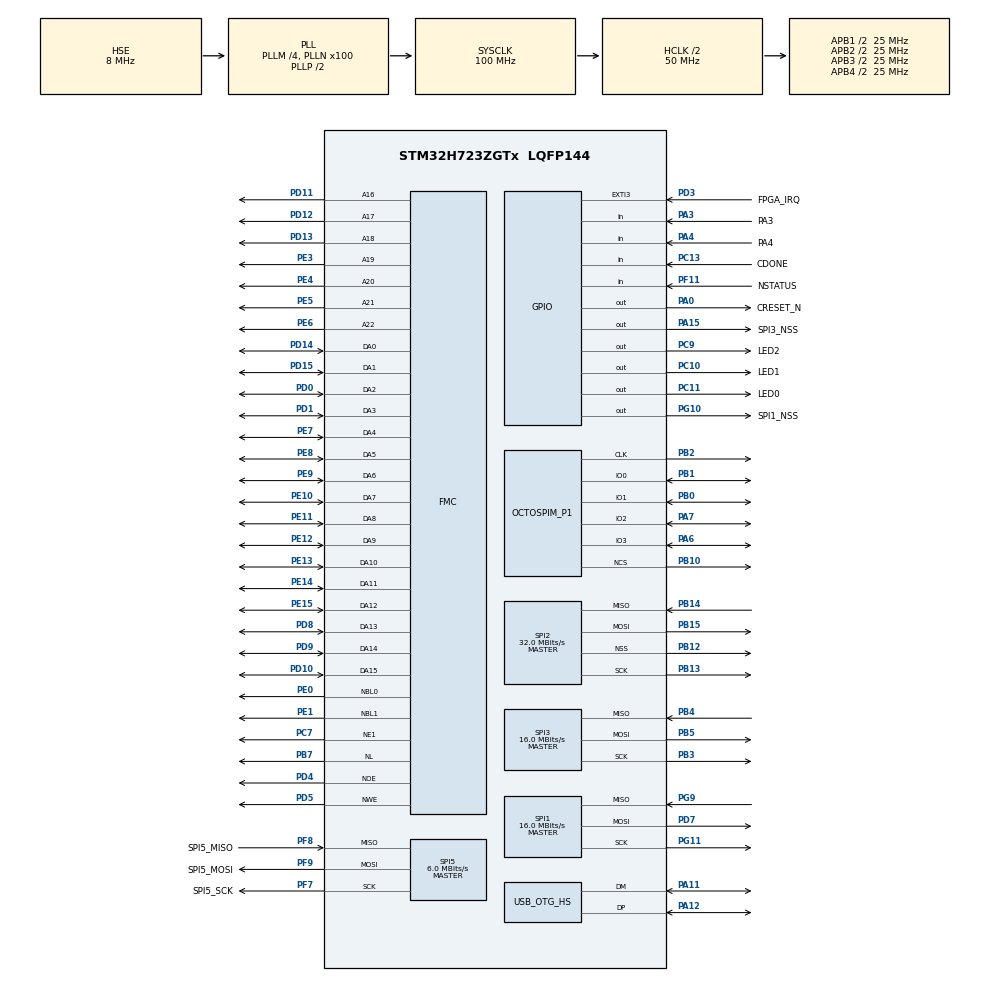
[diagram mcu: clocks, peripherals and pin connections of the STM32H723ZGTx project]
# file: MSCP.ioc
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ADC3.Channel-0\#ChannelRegularConversion=ADC_CHANNEL_TEMPSENSOR
ADC3.ClockPrescalerADC3=ADC_CLOCK_ASYNC_DIV4
ADC3.NbrOfConversionFlag=1
ADC3.OffsetNumber-0\#ChannelRegularConversion=ADC_OFFSET_NONE
ADC3.OffsetSign-0\#ChannelRegularConversion=ADC3_OFFSET_SIGN_NEGATIVE
ADC3.Rank-0\#ChannelRegularConversion=1
ADC3.SamplingTime-0\#ChannelRegularConversion=ADC3_SAMPLETIME_247CYCLES_5
CORTEX_M7.AccessPermission_S-Cortex_Memory_Protection_Unit_Region1_Settings_S=MPU_REGION_FULL_ACCESS
CORTEX_M7.AccessPermission_S-Cortex_Memory_Protection_Unit_Region2_Settings_S=MPU_REGION_FULL_ACCESS
CORTEX_M7.BaseAddress_S-Cortex_Memory_Protection_Unit_Region1_Settings_S=0x60000000
CORTEX_M7.BaseAddress_S-Cortex_Memory_Protection_Unit_Region2_Settings_S=0x60800000
CORTEX_M7.CPU_DCache=Enabled
CORTEX_M7.CPU_ICache=Enabled
CORTEX_M7.DisableExec_S-Cortex_Memory_Protection_Unit_Region1_Settings_S=MPU_INSTRUCTION_ACCESS_DISABLE
CORTEX_M7.DisableExec_S-Cortex_Memory_Protection_Unit_Region2_Settings_S=MPU_INSTRUCTION_ACCESS_DISABLE
CORTEX_M7.Enable_S-Cortex_Memory_Protection_Unit_Region1_Settings_S=MPU_REGION_ENABLE
CORTEX_M7.Enable_S-Cortex_Memory_Protection_Unit_Region2_Settings_S=MPU_REGION_ENABLE
CORTEX_M7.IsBufferable_S-Cortex_Memory_Protection_Unit_Region1_Settings_S=MPU_ACCESS_BUFFERABLE
CORTEX_M7.IsBufferable_S-Cortex_Memory_Protection_Unit_Region2_Settings_S=MPU_ACCESS_BUFFERABLE
CORTEX_M7.IsCacheable_S-Cortex_Memory_Protection_Unit_Region1_Settings_S=MPU_ACCESS_NOT_CACHEABLE
CORTEX_M7.IsCacheable_S-Cortex_Memory_Protection_Unit_Region2_Settings_S=MPU_ACCESS_CACHEABLE
CORTEX_M7.Size_S-Cortex_Memory_Protection_Unit_Region1_Settings_S=MPU_REGION_SIZE_8MB
CORTEX_M7.Size_S-Cortex_Memory_Protection_Unit_Region2_Settings_S=MPU_REGION_SIZE_8MB
CORTEX_M7.default_mode_Activation=1
FMC.AddressHoldTime1=1
FMC.AddressSetupTime1=2
FMC.BusTurnAroundDuration1=1
FMC.DataSetupTime1=3
FMC.WriteFifo1=FMC_WRITE_FIFO_ENABLE
FMC.WriteOperation1=FMC_WRITE_OPERATION_ENABLE
Mcu.Family=STM32H7
Mcu.Name=STM32H723ZGTx
Mcu.Package=LQFP144
NVIC.EXTI3_IRQn=true\:0\:0\:false\:false\:true\:true\:true\:true
NVIC.OTG_HS_IRQn=true\:0\:0\:false\:false\:true\:false\:true\:true
NVIC.PriorityGroup=NVIC_PRIORITYGROUP_4
OCTOSPI1.ChipSelectHighTime=2
OCTOSPI1.ClockPrescaler=2
OCTOSPI1.DelayBlockBypass=HAL_OSPI_DELAY_BLOCK_BYPASSED
OCTOSPI1.DelayHoldQuarterCycle=HAL_OSPI_DHQC_ENABLE
OCTOSPI1.DeviceSize=23
OCTOSPI1.DeviceType=SPI_DEVICE_FLASH
OCTOSPI1.FifoThreshold=4
PA0.GPIO_Label=CRESET_N
PA0.GPIO_ModeDefaultOutputPP=GPIO_MODE_OUTPUT_OD
PA0.GPIO_PuPd=GPIO_NOPULL
PA0.PinState=GPIO_PIN_SET
PA0.Signal=GPIO_Output
PA11.Mode=Device_Only_FS
PA11.Signal=USB_OTG_HS_DM
PA12.Mode=Device_Only_FS
PA12.Signal=USB_OTG_HS_DP
PA13(JTMS/SWDIO).Mode=Trace_Synchro_4bits_SW
PA13(JTMS/SWDIO).Signal=DEBUG_JTMS-SWDIO
PA14(JTCK/SWCLK).Mode=Trace_Synchro_4bits_SW
PA14(JTCK/SWCLK).Signal=DEBUG_JTCK-SWCLK
PA15(JTDI).GPIO_Label=SPI3_NSS
PA15(JTDI).Signal=GPIO_Output
PA3.GPIO_Label=PA3
PA3.Signal=GPIO_Input
PA4.GPIO_Label=PA4
PA4.Signal=GPIO_Input
PA6.Mode=OCTOSPI1_IOL_Port1L
PA6.Signal=OCTOSPIM_P1_IO3
PA7.Mode=OCTOSPI1_IOL_Port1L
PA7.Signal=OCTOSPIM_P1_IO2
PB0.Mode=OCTOSPI1_IOL_Port1L
PB0.Signal=OCTOSPIM_P1_IO1
PB1.Mode=OCTOSPI1_IOL_Port1L
PB1.Signal=OCTOSPIM_P1_IO0
PB10.Mode=OCTOSPI1_Port1_NCS
PB10.Signal=OCTOSPIM_P1_NCS
PB12.Mode=NSS_Signal_Hard_Output
PB12.Signal=SPI2_NSS
PB13.Mode=Full_Duplex_Master
PB13.Signal=SPI2_SCK
PB14.Mode=Full_Duplex_Master
PB14.Signal=SPI2_MISO
PB15.Mode=Full_Duplex_Master
PB15.Signal=SPI2_MOSI
PB2.Mode=O1_P1_CLK
PB2.Signal=OCTOSPIM_P1_CLK
PB3(JTDO/TRACESWO).Mode=Full_Duplex_Master
PB3(JTDO/TRACESWO).Signal=SPI3_SCK
PB4(NJTRST).Mode=Full_Duplex_Master
PB4(NJTRST).Signal=SPI3_MISO
PB5.Mode=Full_Duplex_Master
PB5.Signal=SPI3_MOSI
PB7.Signal=FMC_NL
PC10.GPIO_Label=LED1
PC10.Signal=GPIO_Output
PC11.GPIO_Label=LED0
PC11.Signal=GPIO_Output
PC12.Mode=Trace_Synchro_4bits_SW
PC12.Signal=DEBUG_TRACED3
PC13.GPIO_Label=CDONE
PC13.Signal=GPIO_Input
PC7.Mode=NorPsramChipSelect1_1
PC7.Signal=FMC_NE1
PC9.GPIO_Label=LED2
PC9.Signal=GPIO_Output
PD0.Signal=FMC_D2_DA2
PD1.Signal=FMC_D3_DA3
PD10.Signal=FMC_D15_DA15
PD11.Signal=FMC_A16_CLE
PD12.Signal=FMC_A17_ALE
PD13.Signal=FMC_A18
PD14.Signal=FMC_D0_DA0
PD15.Signal=FMC_D1_DA1
PD2.Mode=Trace_Synchro_4bits_SW
PD2.Signal=DEBUG_TRACED2
PD3.GPIO_Label=FPGA_IRQ
PD3.GPIO_PuPd=GPIO_PULLDOWN
PD3.Signal=GPXTI3
PD4.Signal=FMC_NOE
PD5.Signal=FMC_NWE
PD7.Mode=Full_Duplex_Master
PD7.Signal=SPI1_MOSI
PD8.Signal=FMC_D13_DA13
PD9.Signal=FMC_D14_DA14
PE0.Signal=FMC_NBL0
PE1.Signal=FMC_NBL1
PE10.Signal=FMC_D7_DA7
PE11.Signal=FMC_D8_DA8
PE12.Signal=FMC_D9_DA9
PE13.Signal=FMC_D10_DA10
PE14.Signal=FMC_D11_DA11
PE15.Signal=FMC_D12_DA12
PE2.Mode=Trace_Synchro_4bits_SW
PE2.Signal=DEBUG_TRACECLK
PE3.Signal=FMC_A19
PE4.Signal=FMC_A20
PE5.Signal=FMC_A21
PE6.Signal=FMC_A22
PE7.Signal=FMC_D4_DA4
PE8.Signal=FMC_D5_DA5
PE9.Signal=FMC_D6_DA6
PF11.GPIO_Label=NSTATUS
PF11.Signal=GPIO_Input
PF7.GPIO_Label=SPI5_SCK
PF7.Mode=Full_Duplex_Master
PF7.Signal=SPI5_SCK
PF8.GPIO_Label=SPI5_MISO
PF8.Mode=Full_Duplex_Master
PF8.Signal=SPI5_MISO
PF9.GPIO_Label=SPI5_MOSI
PF9.Mode=Full_Duplex_Master
PF9.Signal=SPI5_MOSI
PG10.GPIO_Label=SPI1_NSS
PG10.Signal=GPIO_Output
PG11.Mode=Full_Duplex_Master
PG11.Signal=SPI1_SCK
PG13.Mode=Trace_Synchro_4bits_SW
PG13.Signal=DEBUG_TRACED0
PG14.Mode=Trace_Synchro_4bits_SW
PG14.Signal=DEBUG_TRACED1
PG9.Mode=Full_Duplex_Master
PG9.Signal=SPI1_MISO
PH0-OSC_IN.Mode=HSE-External-Clock-Source
PH0-OSC_IN.Signal=RCC_OSC_IN
ProjectManager.HeapSize=0x8000
ProjectManager.StackSize=0x400
ProjectManager.TargetToolchain=STM32CubeIDE
RCC.ADCCLockSelection=RCC_ADCCLKSOURCE_PLL3
RCC.ADCFreq_Value=38400000
RCC.APB1Freq_Value=25000000
RCC.APB2Freq_Value=25000000
RCC.APB3Freq_Value=25000000
RCC.APB4Freq_Value=25000000
RCC.CortexFreq_Value=100000000
RCC.D1PPRE=RCC_APB3_DIV2
RCC.D2PPRE1=RCC_APB1_DIV2
RCC.D2PPRE2=RCC_APB2_DIV2
RCC.D3PPRE=RCC_APB4_DIV2
RCC.DIVM1=4
RCC.DIVM2=5
RCC.DIVM3=1
RCC.DIVN1=100
RCC.DIVN2=144
RCC.DIVN3=24
RCC.DIVP2=3
RCC.DIVP3=3
RCC.DIVQ3=4
RCC.DIVR1=4
RCC.DIVR2=1
RCC.DIVR3=5
RCC.FMCCLockSelection=RCC_FMCCLKSOURCE_PLL
RCC.HCLKFreq_Value=50000000
RCC.HPRE=RCC_HCLK_DIV2
RCC.HSE_VALUE=8000000
RCC.PLL2FRACN=0
RCC.PLL3FRACN=0
RCC.PLLFRACN=0
RCC.PLLSourceVirtual=RCC_PLLSOURCE_HSE
RCC.RCC_MCO1Source=RCC_MCO1SOURCE_HSE
RCC.SPI123CLockSelection=RCC_SPI123CLKSOURCE_PLL3
RCC.SYSCLKFreq_VALUE=100000000
RCC.SYSCLKSource=RCC_SYSCLKSOURCE_PLLCLK
RCC.Spi45ClockSelection=RCC_SPI45CLKSOURCE_PLL3
RCC.USART16CLockSelection=RCC_USART16910CLKSOURCE_PLL2
RCC.USBCLockSelection=RCC_USBCLKSOURCE_PLL3
RCC.USBFreq_Value=48000000
SH.FMC_A16_CLE.0=FMC_A16,23b-da1
SH.FMC_A17_ALE.0=FMC_A17,23b-da1
SH.FMC_A18.0=FMC_A18,23b-da1
SH.FMC_A19.0=FMC_A19,23b-da1
SH.FMC_A20.0=FMC_A20,23b-da1
SH.FMC_A21.0=FMC_A21,23b-da1
SH.FMC_A22.0=FMC_A22,23b-da1
SH.FMC_D0_DA0.0=FMC_DA0,23b-da1
SH.FMC_D10_DA10.0=FMC_DA10,23b-da1
SH.FMC_D11_DA11.0=FMC_DA11,23b-da1
SH.FMC_D12_DA12.0=FMC_DA12,23b-da1
SH.FMC_D13_DA13.0=FMC_DA13,23b-da1
SH.FMC_D14_DA14.0=FMC_DA14,23b-da1
SH.FMC_D15_DA15.0=FMC_DA15,23b-da1
SH.FMC_D1_DA1.0=FMC_DA1,23b-da1
SH.FMC_D2_DA2.0=FMC_DA2,23b-da1
SH.FMC_D3_DA3.0=FMC_DA3,23b-da1
SH.FMC_D4_DA4.0=FMC_DA4,23b-da1
SH.FMC_D5_DA5.0=FMC_DA5,23b-da1
SH.FMC_D6_DA6.0=FMC_DA6,23b-da1
SH.FMC_D7_DA7.0=FMC_DA7,23b-da1
SH.FMC_D8_DA8.0=FMC_DA8,23b-da1
SH.FMC_D9_DA9.0=FMC_DA9,23b-da1
SH.FMC_NBL0.0=FMC_NBL0,2ByteEnable1
SH.FMC_NBL1.0=FMC_NBL1,2ByteEnable1
SH.FMC_NL.0=FMC_NL,AddressValid1
SH.FMC_NOE.0=FMC_NOE,MuxedPsram1
SH.FMC_NWE.0=FMC_NWE,MuxedPsram1
SPI1.BaudRatePrescaler=SPI_BAUDRATEPRESCALER_4
SPI1.CalculateBaudRate=16.0 MBits/s
SPI1.DataSize=SPI_DATASIZE_8BIT
SPI1.Direction=SPI_DIRECTION_2LINES
SPI1.MasterKeepIOState=SPI_MASTER_KEEP_IO_STATE_ENABLE
SPI1.Mode=SPI_MODE_MASTER
SPI1.NSSPMode=SPI_NSS_PULSE_DISABLE
SPI1.VirtualType=VM_MASTER
SPI2.CalculateBaudRate=32.0 MBits/s
SPI2.DataSize=SPI_DATASIZE_8BIT
SPI2.Direction=SPI_DIRECTION_2LINES
SPI2.MasterKeepIOState=SPI_MASTER_KEEP_IO_STATE_ENABLE
SPI2.Mode=SPI_MODE_MASTER
SPI2.NSSPMode=SPI_NSS_PULSE_DISABLE
SPI2.VirtualNSS=VM_NSSHARD
SPI2.VirtualType=VM_MASTER
SPI3.BaudRatePrescaler=SPI_BAUDRATEPRESCALER_4
SPI3.CalculateBaudRate=16.0 MBits/s
SPI3.DataSize=SPI_DATASIZE_8BIT
SPI3.Direction=SPI_DIRECTION_2LINES
SPI3.MasterKeepIOState=SPI_MASTER_KEEP_IO_STATE_ENABLE
SPI3.Mode=SPI_MODE_MASTER
SPI3.NSSPMode=SPI_NSS_PULSE_DISABLE
SPI3.VirtualType=VM_MASTER
SPI5.BaudRatePrescaler=SPI_BAUDRATEPRESCALER_8
SPI5.CLKPhase=SPI_PHASE_1EDGE
SPI5.CLKPolarity=SPI_POLARITY_LOW
SPI5.CalculateBaudRate=6.0 MBits/s
SPI5.DataSize=SPI_DATASIZE_8BIT
SPI5.Direction=SPI_DIRECTION_2LINES
SPI5.MasterKeepIOState=SPI_MASTER_KEEP_IO_STATE_ENABLE
SPI5.Mode=SPI_MODE_MASTER
SPI5.NSSPMode=SPI_NSS_PULSE_DISABLE
SPI5.VirtualType=VM_MASTER
TIM2.ClockDivision=TIM_CLOCKDIVISION_DIV1
TIM2.Period=0xffffffff
TIM2.Prescaler=49
USB_DEVICE.CLASS_NAME_HS=CDC
USB_DEVICE.VirtualMode=Cdc
USB_DEVICE.VirtualModeHS=Cdc_HS
USB_OTG_HS.VirtualMode-Device_Only_FS=Device_Only_FS
VP_ADC3_TempSens_Input.Mode=IN-TempSens
VP_FATFS_VS_Generic.Mode=User_defined
VP_MEMORYMAP_VS_MEMORYMAP.Mode=CurAppReg
VP_OCTOSPI1_VS_quad.Mode=quad_mode
VP_TIM2_VS_ClockSourceINT.Mode=Internal
VP_USB_DEVICE_VS_USB_DEVICE_CDC_HS.Mode=CDC_HS
VREF+.Mode=InternalMode
VREF+.Signal=VREFBUF_OUT
board=custom

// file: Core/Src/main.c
/* USER CODE BEGIN Header */
/**
  ******************************************************************************
  * @file           : main.c
  * @brief          : Main program body
  ******************************************************************************
  * @attention
  *
  * Copyright (c) 2024 STMicroelectronics.
  * All rights reserved.
  *
  * This software is licensed under terms that can be found in the LICENSE file
  * in the root directory of this software component.
  * If no LICENSE file comes with this software, it is provided AS-IS.
  *
  ******************************************************************************
  */
/* USER CODE END Header */
#include "main.h"
#include "adc.h"
#include "memorymap.h"
#include "octospi.h"
#include "spi.h"
#include "tim.h"
#include "usb_device.h"
#include "gpio.h"
#include "fmc.h"

/* USER CODE BEGIN Includes */

#include "usbd_cdc_if.h"
#include "ff.h"
#include "diskio.h"

/* USER CODE END Includes */

/* USER CODE BEGIN PV */

unsigned CPU_CLOCK_FREQUENCY = 100;

/* USER CODE END PV */

void SystemClock_Config(void);
void PeriphCommonClock_Config(void);
static void MPU_Config(void);

int main(void)
{

  /* MPU Configuration--------------------------------------------------------*/
  MPU_Config();

  /* Enable the CPU Cache */

  /* Enable I-Cache---------------------------------------------------------*/
  SCB_EnableICache();

  /* Enable D-Cache---------------------------------------------------------*/
  SCB_EnableDCache();

  /* MCU Configuration--------------------------------------------------------*/

  /* Reset of all peripherals, Initializes the Flash interface and the Systick. */
  HAL_Init();

  /* Configure the system clock */
  SystemClock_Config();

  /* Configure the peripherals common clocks */
  PeriphCommonClock_Config();

  /* Initialize all configured peripherals */
  MX_GPIO_Init();
  MX_USB_DEVICE_Init();
  MX_TIM2_Init();
  MX_ADC3_Init();
  MX_SPI2_Init();
  MX_OCTOSPI1_Init();
  MX_FMC_Init();
  MX_SPI1_Init();
  MX_SPI3_Init();
  MX_SPI5_Init();
  /* USER CODE BEGIN 2 */

  extern void vcp_init();
  vcp_init();

  /* start TIM2, which is used for the 1 usec clock */
  HAL_TIM_Base_Start(&htim2);

  extern void background();
  background();

  /* USER CODE END 2 */

  /* Infinite loop */
  while (1)
  {

  }
}

void SystemClock_Config(void)
{
  RCC_OscInitTypeDef RCC_OscInitStruct = {0};
  RCC_ClkInitTypeDef RCC_ClkInitStruct = {0};

  /** Supply configuration update enable
  */
  HAL_PWREx_ConfigSupply(PWR_LDO_SUPPLY);

  /** Configure the main internal regulator output voltage
  */
  __HAL_PWR_VOLTAGESCALING_CONFIG(PWR_REGULATOR_VOLTAGE_SCALE3);

  while(!__HAL_PWR_GET_FLAG(PWR_FLAG_VOSRDY)) {}

  /** Initializes the RCC Oscillators according to the specified parameters
  * in the RCC_OscInitTypeDef structure.
  */
  RCC_OscInitStruct.OscillatorType = RCC_OSCILLATORTYPE_HSE;
  RCC_OscInitStruct.HSEState = RCC_HSE_BYPASS;
  RCC_OscInitStruct.PLL.PLLState = RCC_PLL_ON;
  RCC_OscInitStruct.PLL.PLLSource = RCC_PLLSOURCE_HSE;
  RCC_OscInitStruct.PLL.PLLM = 4;
  RCC_OscInitStruct.PLL.PLLN = 100;
  RCC_OscInitStruct.PLL.PLLP = 2;
  RCC_OscInitStruct.PLL.PLLQ = 2;
  RCC_OscInitStruct.PLL.PLLR = 4;
  RCC_OscInitStruct.PLL.PLLRGE = RCC_PLL1VCIRANGE_1;
  RCC_OscInitStruct.PLL.PLLVCOSEL = RCC_PLL1VCOWIDE;
  RCC_OscInitStruct.PLL.PLLFRACN = 0;
  if (HAL_RCC_OscConfig(&RCC_OscInitStruct) != HAL_OK)
  {
    Error_Handler();
  }

  /** Initializes the CPU, AHB and APB buses clocks
  */
  RCC_ClkInitStruct.ClockType = RCC_CLOCKTYPE_HCLK|RCC_CLOCKTYPE_SYSCLK
                              |RCC_CLOCKTYPE_PCLK1|RCC_CLOCKTYPE_PCLK2
                              |RCC_CLOCKTYPE_D3PCLK1|RCC_CLOCKTYPE_D1PCLK1;
  RCC_ClkInitStruct.SYSCLKSource = RCC_SYSCLKSOURCE_PLLCLK;
  RCC_ClkInitStruct.SYSCLKDivider = RCC_SYSCLK_DIV1;
  RCC_ClkInitStruct.AHBCLKDivider = RCC_HCLK_DIV2;
  RCC_ClkInitStruct.APB3CLKDivider = RCC_APB3_DIV2;
  RCC_ClkInitStruct.APB1CLKDivider = RCC_APB1_DIV2;
  RCC_ClkInitStruct.APB2CLKDivider = RCC_APB2_DIV2;
  RCC_ClkInitStruct.APB4CLKDivider = RCC_APB4_DIV2;

  if (HAL_RCC_ClockConfig(&RCC_ClkInitStruct, FLASH_LATENCY_1) != HAL_OK)
  {
    Error_Handler();
  }
}

void PeriphCommonClock_Config(void)
{
  RCC_PeriphCLKInitTypeDef PeriphClkInitStruct = {0};

  /** Initializes the peripherals clock
  */
  PeriphClkInitStruct.PeriphClockSelection = RCC_PERIPHCLK_USB|RCC_PERIPHCLK_ADC
                              |RCC_PERIPHCLK_SPI3|RCC_PERIPHCLK_SPI2
                              |RCC_PERIPHCLK_SPI1|RCC_PERIPHCLK_SPI5;
  PeriphClkInitStruct.PLL3.PLL3M = 1;
  PeriphClkInitStruct.PLL3.PLL3N = 24;
  PeriphClkInitStruct.PLL3.PLL3P = 3;
  PeriphClkInitStruct.PLL3.PLL3Q = 4;
  PeriphClkInitStruct.PLL3.PLL3R = 5;
  PeriphClkInitStruct.PLL3.PLL3RGE = RCC_PLL3VCIRANGE_3;
  PeriphClkInitStruct.PLL3.PLL3VCOSEL = RCC_PLL3VCOWIDE;
  PeriphClkInitStruct.PLL3.PLL3FRACN = 0;
  PeriphClkInitStruct.Spi123ClockSelection = RCC_SPI123CLKSOURCE_PLL3;
  PeriphClkInitStruct.Spi45ClockSelection = RCC_SPI45CLKSOURCE_PLL3;
  PeriphClkInitStruct.UsbClockSelection = RCC_USBCLKSOURCE_PLL3;
  PeriphClkInitStruct.AdcClockSelection = RCC_ADCCLKSOURCE_PLL3;
  if (HAL_RCCEx_PeriphCLKConfig(&PeriphClkInitStruct) != HAL_OK)
  {
    Error_Handler();
  }
}

/* USER CODE BEGIN 4 */

/**
  * @brief System Clock Configuration at Run-time
  * @retval None
  */
void SystemClock_PLL_Config(unsigned freq)
{
  unsigned PLLN;
  unsigned PLLP;

  if(freq > 190)
  {
    PLLN = freq/2;
    PLLP = 1;
  }
  else if(freq > 95)
  {
    PLLN = freq;
    PLLP = 2;
  }
  else
  {
    PLLN = freq*2;
    PLLP = 4;
  }

  RCC_OscInitTypeDef RCC_OscInitStruct = {0};
  RCC_ClkInitTypeDef RCC_ClkInitStruct = {0};

  /** Supply configuration update enable
  */
  HAL_PWREx_ConfigSupply(PWR_LDO_SUPPLY);

  /** Configure the main internal regulator output voltage
  */
  __HAL_PWR_VOLTAGESCALING_CONFIG(PWR_REGULATOR_VOLTAGE_SCALE0);

  while(!__HAL_PWR_GET_FLAG(PWR_FLAG_VOSRDY)) {}

  /** Initializes the RCC Oscillators according to the specified parameters
  * in the RCC_OscInitTypeDef structure.
  */
  RCC_OscInitStruct.OscillatorType = RCC_OSCILLATORTYPE_HSE;
  RCC_OscInitStruct.HSEState = RCC_HSE_BYPASS;
  RCC_OscInitStruct.PLL.PLLState = RCC_PLL_ON;
  RCC_OscInitStruct.PLL.PLLSource = RCC_PLLSOURCE_HSE;
  RCC_OscInitStruct.PLL.PLLM = 4;
  RCC_OscInitStruct.PLL.PLLN = PLLN;
  RCC_OscInitStruct.PLL.PLLP = PLLP;
  RCC_OscInitStruct.PLL.PLLQ = 5;
  RCC_OscInitStruct.PLL.PLLR = 5;
  RCC_OscInitStruct.PLL.PLLRGE = RCC_PLL1VCIRANGE_1;
  RCC_OscInitStruct.PLL.PLLVCOSEL = RCC_PLL1VCOWIDE;
  RCC_OscInitStruct.PLL.PLLFRACN = 0;
  if (HAL_RCC_OscConfig(&RCC_OscInitStruct) != HAL_OK)
  {
    Error_Handler();
  }

  /** Initializes the CPU, AHB and APB buses clocks
  */
  RCC_ClkInitStruct.ClockType = RCC_CLOCKTYPE_HCLK|RCC_CLOCKTYPE_SYSCLK
                              |RCC_CLOCKTYPE_PCLK1|RCC_CLOCKTYPE_PCLK2
                              |RCC_CLOCKTYPE_D3PCLK1|RCC_CLOCKTYPE_D1PCLK1;
  RCC_ClkInitStruct.SYSCLKSource = RCC_SYSCLKSOURCE_PLLCLK;
  RCC_ClkInitStruct.SYSCLKDivider = RCC_SYSCLK_DIV1;
  RCC_ClkInitStruct.AHBCLKDivider = RCC_HCLK_DIV2;
  RCC_ClkInitStruct.APB3CLKDivider = RCC_APB3_DIV2;
  RCC_ClkInitStruct.APB1CLKDivider = RCC_APB1_DIV2;
  RCC_ClkInitStruct.APB2CLKDivider = RCC_APB2_DIV2;
  RCC_ClkInitStruct.APB4CLKDivider = RCC_APB4_DIV2;

  if (HAL_RCC_ClockConfig(&RCC_ClkInitStruct, freq/140+1) != HAL_OK)
  {
    Error_Handler();
  }

  CPU_CLOCK_FREQUENCY = freq;
}

/**
  * @brief config clock for HSI while PLL is being programmed
  * @retval None
  */
void SystemClock_HSI_Config(void)
{
  RCC_OscInitTypeDef RCC_OscInitStruct = {0};
  RCC_ClkInitTypeDef RCC_ClkInitStruct = {0};

  /** Initializes the RCC Oscillators according to the specified parameters
  * in the RCC_OscInitTypeDef structure.
  */
  RCC_OscInitStruct.OscillatorType = RCC_OSCILLATORTYPE_HSI|RCC_OSCILLATORTYPE_HSE;
  RCC_OscInitStruct.HSEState = RCC_HSE_BYPASS;
  RCC_OscInitStruct.HSIState = RCC_HSI_DIV1;
  RCC_OscInitStruct.HSICalibrationValue = 64;
  RCC_OscInitStruct.PLL.PLLState = RCC_PLL_NONE;
  if (HAL_RCC_OscConfig(&RCC_OscInitStruct) != HAL_OK)
  {
    Error_Handler();
  }

  /** Initializes the CPU, AHB and APB buses clocks
  */
  RCC_ClkInitStruct.ClockType = RCC_CLOCKTYPE_HCLK|RCC_CLOCKTYPE_SYSCLK
                              |RCC_CLOCKTYPE_PCLK1|RCC_CLOCKTYPE_PCLK2
                              |RCC_CLOCKTYPE_D3PCLK1|RCC_CLOCKTYPE_D1PCLK1;
  RCC_ClkInitStruct.SYSCLKSource = RCC_SYSCLKSOURCE_HSI;
  RCC_ClkInitStruct.SYSCLKDivider = RCC_SYSCLK_DIV1;
  RCC_ClkInitStruct.AHBCLKDivider = RCC_HCLK_DIV2;
  RCC_ClkInitStruct.APB3CLKDivider = RCC_APB3_DIV2;
  RCC_ClkInitStruct.APB1CLKDivider = RCC_APB1_DIV2;
  RCC_ClkInitStruct.APB2CLKDivider = RCC_APB2_DIV2;
  RCC_ClkInitStruct.APB4CLKDivider = RCC_APB4_DIV2;

  if (HAL_RCC_ClockConfig(&RCC_ClkInitStruct, FLASH_LATENCY_0) != HAL_OK)
  {
    Error_Handler();
  }
}

/* USER CODE END 4 */

 /* MPU Configuration */

void MPU_Config(void)
{
  MPU_Region_InitTypeDef MPU_InitStruct = {0};

  /* Disables the MPU */
  HAL_MPU_Disable();

  /** Initializes and configures the Region and the memory to be protected
  */
  MPU_InitStruct.Enable = MPU_REGION_ENABLE;
  MPU_InitStruct.Number = MPU_REGION_NUMBER0;
  MPU_InitStruct.BaseAddress = 0x0;
  MPU_InitStruct.Size = MPU_REGION_SIZE_4GB;
  MPU_InitStruct.SubRegionDisable = 0x87;
  MPU_InitStruct.TypeExtField = MPU_TEX_LEVEL0;
  MPU_InitStruct.AccessPermission = MPU_REGION_NO_ACCESS;
  MPU_InitStruct.DisableExec = MPU_INSTRUCTION_ACCESS_DISABLE;
  MPU_InitStruct.IsShareable = MPU_ACCESS_SHAREABLE;
  MPU_InitStruct.IsCacheable = MPU_ACCESS_NOT_CACHEABLE;
  MPU_InitStruct.IsBufferable = MPU_ACCESS_NOT_BUFFERABLE;

  HAL_MPU_ConfigRegion(&MPU_InitStruct);

  /** Initializes and configures the Region and the memory to be protected
  */
  MPU_InitStruct.Number = MPU_REGION_NUMBER1;
  MPU_InitStruct.BaseAddress = 0x60000000;
  MPU_InitStruct.Size = MPU_REGION_SIZE_8MB;
  MPU_InitStruct.SubRegionDisable = 0x0;
  MPU_InitStruct.AccessPermission = MPU_REGION_FULL_ACCESS;
  MPU_InitStruct.IsShareable = MPU_ACCESS_NOT_SHAREABLE;
  MPU_InitStruct.IsBufferable = MPU_ACCESS_BUFFERABLE;

  HAL_MPU_ConfigRegion(&MPU_InitStruct);

  /** Initializes and configures the Region and the memory to be protected
  */
  MPU_InitStruct.Number = MPU_REGION_NUMBER2;
  MPU_InitStruct.BaseAddress = 0x60800000;
  MPU_InitStruct.IsCacheable = MPU_ACCESS_CACHEABLE;

  HAL_MPU_ConfigRegion(&MPU_InitStruct);
  /* Enables the MPU */
  HAL_MPU_Enable(MPU_PRIVILEGED_DEFAULT);

}

void Error_Handler(void)
{
  __disable_irq();
  while (1)
  {
  }
}
